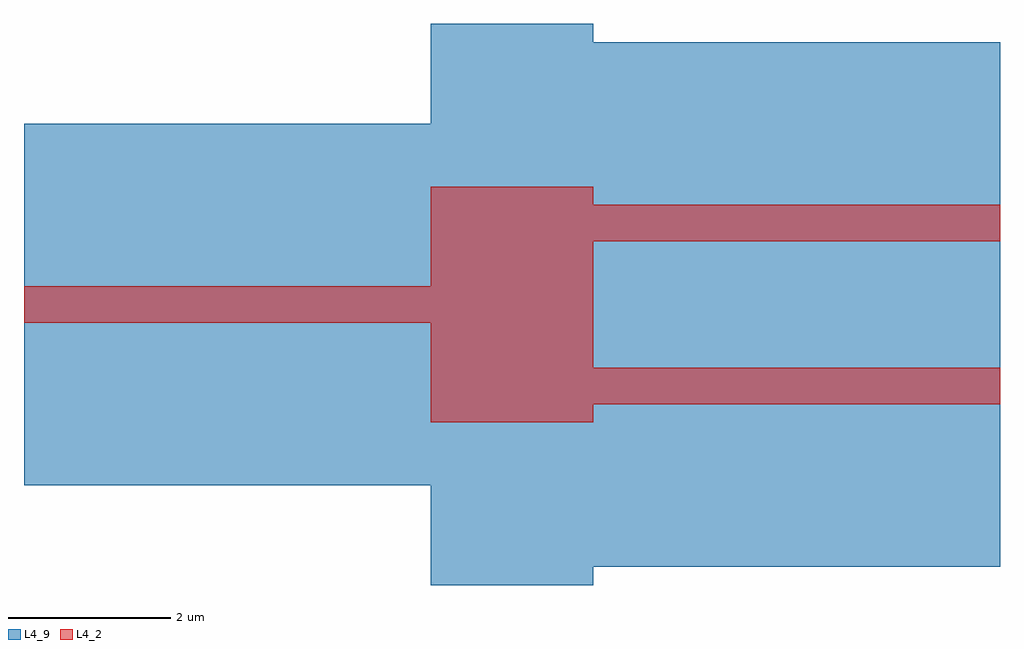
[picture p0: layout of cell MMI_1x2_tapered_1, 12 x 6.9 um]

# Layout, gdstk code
import gdstk
lib = gdstk.Library(unit=1e-6, precision=5e-09)
def R(c, l, rs):  # rectangles x0, y0, x1, y1
    for r in rs: c.add(gdstk.rectangle(r[:2], r[2:], *l))
def P(c, l, *ps):  # polygons
    for p in ps: c.add(gdstk.Polygon(p, *l))
L4_2 = (4, 2)
L4_9 = (4, 9)

mmi_1x2_tapered_1_mmi_mm = lib.new_cell('MMI_1x2_tapered_1_MMI_mmi_trace')
R(mmi_1x2_tapered_1_mmi_mm, L4_2, [(0,-1.45,2,1.45)])
P(mmi_1x2_tapered_1_mmi_mm, L4_9, [(0,-3.45),(2,-3.45),(2,-1.45),(2,1.45),(2,3.45),(0,3.45),(0,1.45),(0,-1.45)])

mmi_1x2_tapered_1_transi = lib.new_cell('MMI_1x2_tapered_1_TRANSITION1')
R(mmi_1x2_tapered_1_transi, L4_2, [(-5,-0.225,0,0.225)])
P(mmi_1x2_tapered_1_transi, L4_9, [(0,-2.225),(0,-0.225),(0,0.225),(0,2.225),(-5,2.225),(-5,0.225),(-5,-0.225),(-5,-2.225)])

c_mmi_1x2_tapered_1_transi = lib.new_cell('MMI_1x2_tapered_1_TRANSITION2')
R(c_mmi_1x2_tapered_1_transi, L4_2, [(2,-1.225,7,-0.775)])
P(c_mmi_1x2_tapered_1_transi, L4_9, [(2,1.225),(2,-0.775),(2,-1.225),(2,-3.225),(7,-3.225),(7,-1.225),(7,-0.775),(7,1.225)])

c_mmi_1x2_tapered_1_transi_ = lib.new_cell('MMI_1x2_tapered_1_TRANSITION3')
R(c_mmi_1x2_tapered_1_transi_, L4_2, [(2,0.775,7,1.225)])
P(c_mmi_1x2_tapered_1_transi_, L4_9, [(2,3.225),(2,1.225),(2,0.775),(2,-1.225),(7,-1.225),(7,0.775),(7,1.225),(7,3.225)])

mmi_1x2_tapered_1 = lib.new_cell('MMI_1x2_tapered_1')
mmi_1x2_tapered_1.add(gdstk.Reference(mmi_1x2_tapered_1_mmi_mm, (0,0)))
mmi_1x2_tapered_1.add(gdstk.Reference(mmi_1x2_tapered_1_transi, (0,0)))
mmi_1x2_tapered_1.add(gdstk.Reference(c_mmi_1x2_tapered_1_transi, (0,0)))
mmi_1x2_tapered_1.add(gdstk.Reference(c_mmi_1x2_tapered_1_transi_, (0,0)))

lib.write_gds('MMI_1x2_tapered_1.gds')
